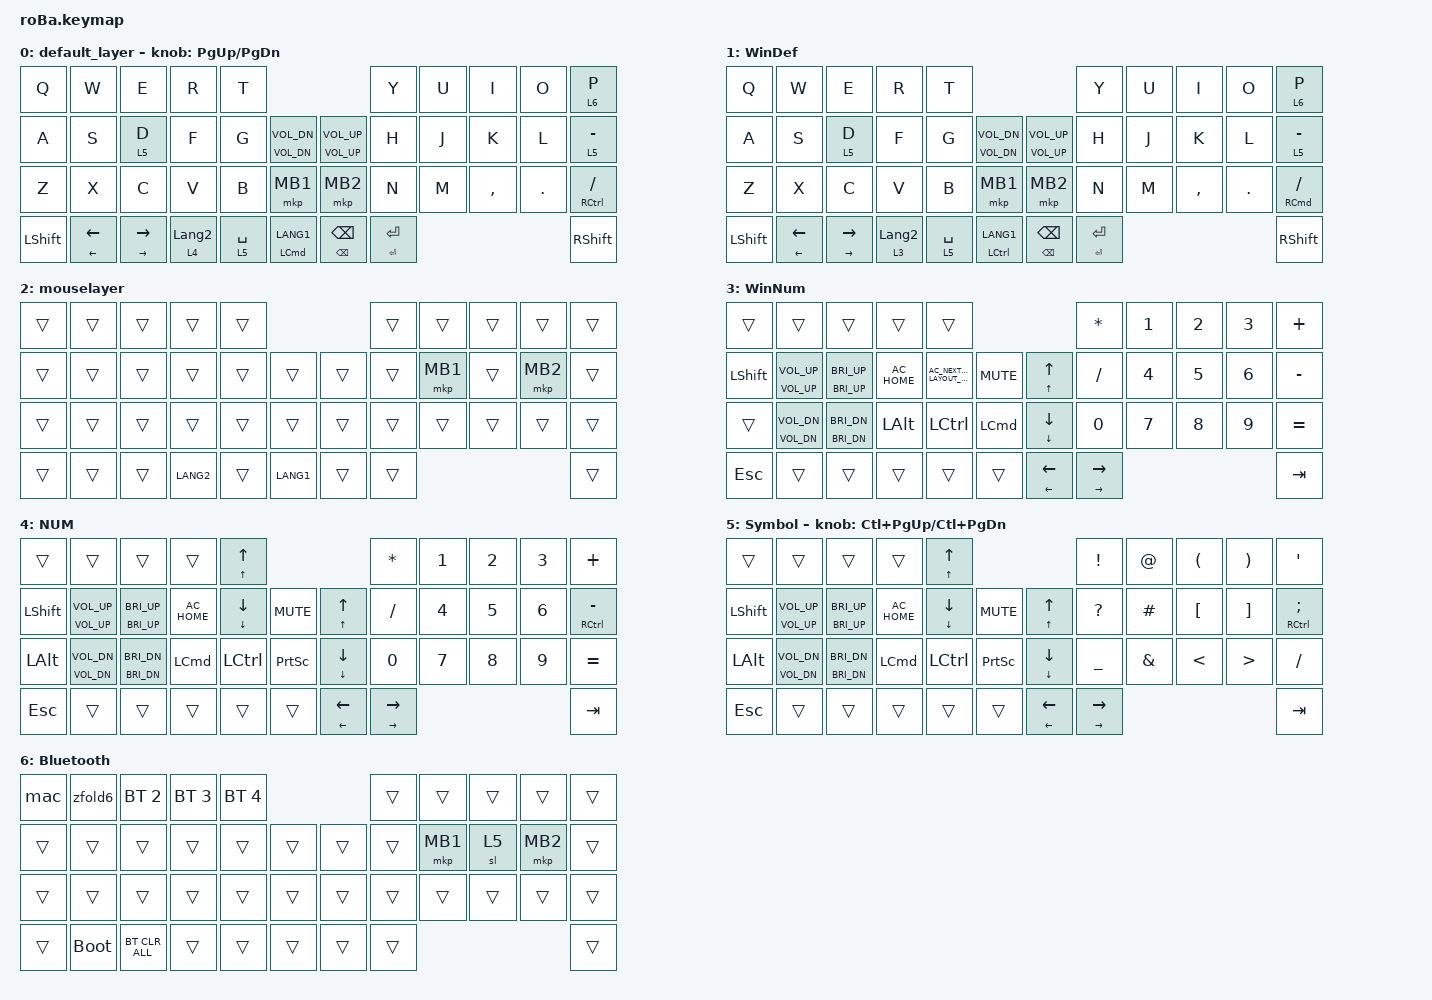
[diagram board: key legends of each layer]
#include <input/processors.dtsi>
#include <behaviors.dtsi>
#include <dt-bindings/zmk/backlight.h>
#include <dt-bindings/zmk/bt.h>
#include <dt-bindings/zmk/keys.h>
#include <dt-bindings/zmk/pointing.h>

&mt {
    flavor = "balanced";
    quick-tap-ms = <0>;
};

&trackball {
    scroll-layers = <5>;

    // arrows {
    //     layers = <3>;
    //     bindings =
    //         <&kp RIGHT_ARROW>,
    //         <&kp LEFT_ARROW>,
    //         <&kp UP_ARROW>,
    //         <&kp DOWN_ARROW>;
    //     tick = <10>;
    //     wait-ms = <5>;
    //     tap-ms = <5>;
    // };
};

/ {
    combos {
        compatible = "zmk,combos";

        backlight {
            bindings = <&bl BL_TOG>;
            key-positions = <13 12 11>;
        };

        test {
            bindings = <&trans>;
            key-positions = <13 14>;
        };
    };

    macros {
        to_layer_0: to_layer_0 {
            compatible = "zmk,behavior-macro";
            #binding-cells = <0>;
            bindings = <&to 0>;
        };

        mac: mac {
            compatible = "zmk,behavior-macro";
            #binding-cells = <0>;
            bindings =
                <&tog_off 0 &tog_off 1>,
                <&macro_wait_time 200>,
                <&bt BT_SEL 0>,
                <&macro_wait_time 400>,
                <&tog_on 0>;

            label = "MAC";
        };

        zfold6: zfold6 {
            compatible = "zmk,behavior-macro";
            #binding-cells = <0>;
            bindings =
                <&tog_off 0 &tog_off 1>,
                <&macro_wait_time 200>,
                <&bt BT_SEL 1>,
                <&macro_wait_time 400>,
                <&tog_on 1>;

            label = "ZFOLD6";
        };
    };

    behaviors {
        lt_to_layer_0: lt_to_layer_0 {
            compatible = "zmk,behavior-hold-tap";
            label = "LAYER_TAP_TO_0";
            bindings = <&mo>, <&mac>;

            #binding-cells = <2>;
            tapping-term-ms = <200>;
        };

        tog_on: tog_layer_on_only {
            compatible = "zmk,behavior-toggle-layer";
            #binding-cells = <1>;
        };

        tog_off: tog_layer_off_only {
            compatible = "zmk,behavior-toggle-layer";
            #binding-cells = <1>;
            toggle-mode = "off";
        };
    };

    keymap {
        compatible = "zmk,keymap";

        default_layer {
            bindings = <
&kp Q           &kp W                      &kp E                        &kp R             &kp T                                                             &kp Y            &kp U  &kp I      &kp O       &lt 6 P
&kp A           &kp S                      &lt 5 D                      &kp F             &kp G        &mt C_VOL_DN C_VOL_DN       &mt C_VOL_UP C_VOL_UP    &kp H            &kp J  &kp K      &kp L       &lt 5 MINUS
&kp Z           &kp X                      &kp C                        &kp V             &kp B        &mkp MB1                    &mkp MB2                 &kp N            &kp M  &kp COMMA  &kp PERIOD  &mt RIGHT_CONTROL SLASH
&kp LEFT_SHIFT  &mt LEFT_ARROW LEFT_ARROW  &mt RIGHT_ARROW RIGHT_ARROW  &lt 4 LANGUAGE_2  &lt 5 SPACE  &mt LEFT_COMMAND LANG1      &mt BACKSPACE BACKSPACE  &mt ENTER ENTER                                &kp RIGHT_SHIFT
            >;

            sensor-bindings = <&inc_dec_kp PG_UP PAGE_DOWN>;
        };

        WinDef {
            bindings = <
&kp Q           &kp W                      &kp E                        &kp R             &kp T                                                             &kp Y            &kp U  &kp I      &kp O       &lt 6 P
&kp A           &kp S                      &lt 5 D                      &kp F             &kp G        &mt C_VOL_DN C_VOL_DN       &mt C_VOL_UP C_VOL_UP    &kp H            &kp J  &kp K      &kp L       &lt 5 MINUS
&kp Z           &kp X                      &kp C                        &kp V             &kp B        &mkp MB1                    &mkp MB2                 &kp N            &kp M  &kp COMMA  &kp PERIOD  &mt RIGHT_COMMAND SLASH
&kp LEFT_SHIFT  &mt LEFT_ARROW LEFT_ARROW  &mt RIGHT_ARROW RIGHT_ARROW  &lt 3 LANGUAGE_2  &lt 5 SPACE  &mt LEFT_CONTROL LANG1      &mt BACKSPACE BACKSPACE  &mt ENTER ENTER                                &kp RIGHT_SHIFT
            >;
        };

        mouselayer {
            bindings = <
&trans  &trans  &trans  &trans     &trans                         &trans  &trans    &trans  &trans    &trans
&trans  &trans  &trans  &trans     &trans  &trans         &trans  &trans  &mkp MB1  &trans  &mkp MB2  &trans
&trans  &trans  &trans  &trans     &trans  &trans         &trans  &trans  &trans    &trans  &trans    &trans
&trans  &trans  &trans  &kp LANG2  &trans  &kp LANG1      &trans  &trans                              &trans
            >;
        };

        WinNum {
            bindings = <
&trans          &trans                 &trans                 &trans         &trans                                                                                 &kp ASTRK                    &kp NUMBER_1  &kp NUMBER_2  &kp NUMBER_3  &kp PLUS
&kp LEFT_SHIFT  &mt C_VOL_UP C_VOL_UP  &mt C_BRI_UP C_BRI_UP  &kp C_AC_HOME  &kp C_AC_NEXT_KEYBOARD_LAYOUT_SELECT  &kp K_MUTE            &mt UP_ARROW UP_ARROW      &kp SLASH                    &kp NUMBER_4  &kp NUMBER_5  &kp NUMBER_6  &kp MINUS
&trans          &mt C_VOL_DN C_VOL_DN  &mt C_BRI_DN C_BRI_DN  &kp LEFT_ALT   &kp LEFT_CONTROL                      &kp LEFT_COMMAND      &mt DOWN_ARROW DOWN_ARROW  &kp NUMBER_0                 &kp NUMBER_7  &kp NUMBER_8  &kp NUMBER_9  &kp EQUAL
&kp ESC         &trans                 &trans                 &trans         &trans                                &trans                &mt LEFT_ARROW LEFT_ARROW  &mt RIGHT_ARROW RIGHT_ARROW                                            &kp TAB
            >;
        };

        NUM {
            bindings = <
&trans          &trans                    &trans                 &trans            &mt UP_ARROW UP_ARROW                                                      &kp ASTERISK                 &kp N1  &kp N2  &kp N3  &kp PLUS
&kp LEFT_SHIFT  &mt C_VOL_UP C_VOLUME_UP  &mt C_BRI_UP C_BRI_UP  &kp C_AC_HOME     &mt DOWN_ARROW DOWN_ARROW  &kp K_MUTE           &mt UP_ARROW UP_ARROW      &kp SLASH                    &kp N4  &kp N5  &kp N6  &mt RIGHT_CONTROL MINUS
&kp LEFT_ALT    &mt C_VOL_DN C_VOL_DN     &mt C_BRI_DN C_BRI_DN  &kp LEFT_COMMAND  &kp LEFT_CONTROL           &kp PRINTSCREEN      &mt DOWN_ARROW DOWN_ARROW  &kp N0                       &kp N7  &kp N8  &kp N9  &kp EQUAL
&kp ESC         &trans                    &trans                 &trans            &trans                     &trans               &mt LEFT_ARROW LEFT_ARROW  &mt RIGHT_ARROW RIGHT_ARROW                          &kp TAB
            >;
        };

        Symbol {
            bindings = <
&trans          &trans                 &trans                 &trans            &mt UP_ARROW UP_ARROW                                                      &kp EXCLAMATION              &kp AT_SIGN    &kp LEFT_PARENTHESIS  &kp RIGHT_PARENTHESIS  &kp SQT
&kp LEFT_SHIFT  &mt C_VOL_UP C_VOL_UP  &mt C_BRI_UP C_BRI_UP  &kp C_AC_HOME     &mt DOWN_ARROW DOWN_ARROW  &kp K_MUTE           &mt UP_ARROW UP_ARROW      &kp QUESTION                 &kp HASH       &kp LEFT_BRACKET      &kp RIGHT_BRACKET      &mt RIGHT_CONTROL SEMICOLON
&kp LEFT_ALT    &mt C_VOL_DN C_VOL_DN  &mt C_BRI_DN C_BRI_DN  &kp LEFT_COMMAND  &kp LEFT_CONTROL           &kp PRINTSCREEN      &mt DOWN_ARROW DOWN_ARROW  &kp UNDER                    &kp AMPERSAND  &kp LESS_THAN         &kp GREATER_THAN       &kp SLASH
&kp ESC         &trans                 &trans                 &trans            &trans                     &trans               &mt LEFT_ARROW LEFT_ARROW  &mt RIGHT_ARROW RIGHT_ARROW                                                              &kp TAB
            >;

            sensor-bindings = <&inc_dec_kp LC(PAGE_UP) LC(PAGE_DOWN)>;
        };

        Bluetooth {
            bindings = <
&mac    &zfold6      &bt BT_SEL 2    &bt BT_SEL 3  &bt BT_SEL 4                      &trans  &trans    &trans  &trans    &trans
&trans  &trans       &trans          &trans        &trans        &trans      &trans  &trans  &mkp MB1  &sl 5   &mkp MB2  &trans
&trans  &trans       &trans          &trans        &trans        &trans      &trans  &trans  &trans    &trans  &trans    &trans
&trans  &bootloader  &bt BT_CLR_ALL  &trans        &trans        &trans      &trans  &trans                              &trans
            >;
        };
    };
};
